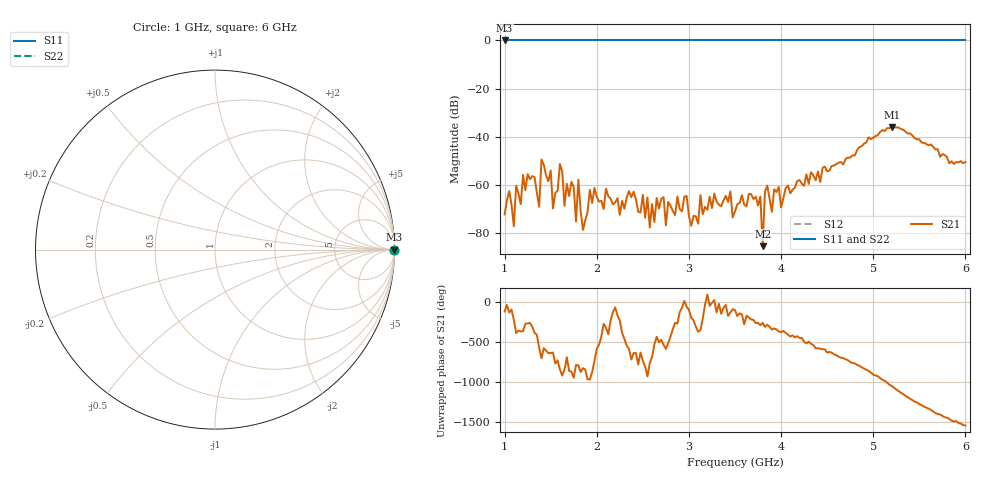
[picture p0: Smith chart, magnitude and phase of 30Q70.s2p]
!Keysight Technologies N9926A: A.08.19
!Date: Sunday, 01 March 2026 14:14:59
!Timezone: (GMT-06:00) Central Time (US & Canada)
!Model: N9926A
!Serial: MY53102721
!GPS Latitude:
!GPS Longitude:
!GPS TimeStamp: 0001-01-01 00:00:00Z
!GPS Seconds Since Last Read: 0
!CHECKSUM:0206623635
!Correction: S11()S21(ON U)S12()S22()
!S2P File: Measurements:S11,S21,S12,S22:
# Hz S DB R 50
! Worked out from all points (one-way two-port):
!   201 points, 1 GHz to 6 GHz, reference 50 ohm
!   highest |S21| = -36.10 dB at 5.2 GHz (marker M1); lowest = -85.5 dB at 3.8 GHz (marker M2)
!   lowest |S11| = 0.0 dB at 1 GHz (marker M3)
!   |S11| at or under -10 dB: nowhere
!   |S22| runs from 0.0 to 0.0 dB; largest |S21 - S12| = 1
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1e9  0.00 0.0  -72.31 -118.1  0.00 0.0  0.00 0.0
1.1e9  0.00 0.0  -77.24 136.3  0.00 0.0  0.00 0.0
1.2e9  0.00 0.0  -55.89 -5.9  0.00 0.0  0.00 0.0
1.375e9  0.00 0.0  -69.13 148.0  0.00 0.0  0.00 0.0
1.4e9  0.00 0.0  -49.49 14.7  0.00 0.0  0.00 0.0
1.525e9  0.00 0.0  -69.79 85.1  0.00 0.0  0.00 0.0
1.6e9  0.00 0.0  -51.34 -125.6  0.00 0.0  0.00 0.0
1.65e9  0.00 0.0  -68.72 -126.1  0.00 0.0  0.00 0.0
1.725e9  0.00 0.0  -58.78 -153.3  0.00 0.0  0.00 0.0
1.775e9  0.00 0.0  -75.26 -70.6  0.00 0.0  0.00 0.0
1.8e9  0.00 0.0  -57.86 -74.3  0.00 0.0  0.00 0.0
1.85e9  0.00 0.0  -78.78 -110.7  0.00 0.0  0.00 0.0
1.975e9  0.00 0.0  -61.32 -17.7  0.00 0.0  0.00 0.0
2.675e9  0.00 0.0  -69.87 -145.7  0.00 0.0  0.00 0.0
3.5e9  0.00 0.0  -71.07 -100.2  0.00 0.0  0.00 0.0
3.775e9  0.00 0.0  -64.89 68.8  0.00 0.0  0.00 0.0
3.8e9  0.00 0.0  -85.51 98.4  0.00 0.0  0.00 0.0
3.85e9  0.00 0.0  -60.33 75.3  0.00 0.0  0.00 0.0
4.35e9  0.00 0.0  -56.08 -179.1  0.00 0.0  0.00 0.0
5.175e9  0.00 0.0  -36.46 42.4  0.00 0.0  0.00 0.0
5.2e9  0.00 0.0  -36.10 26.8  0.00 0.0  0.00 0.0
6e9  0.00 0.0  -50.54 -109.6  0.00 0.0  0.00 0.0
